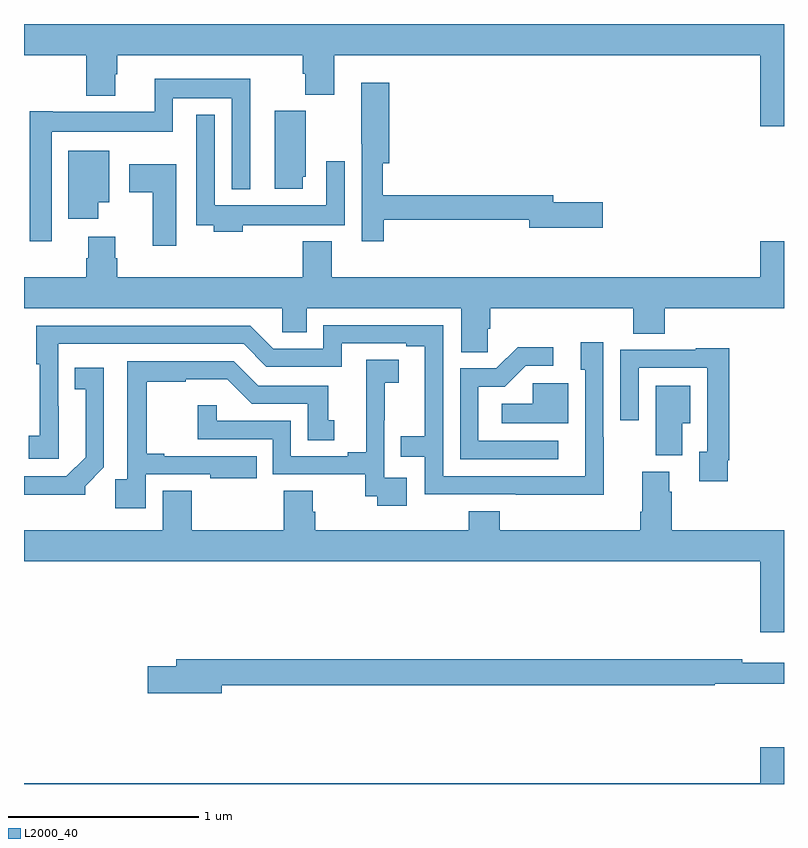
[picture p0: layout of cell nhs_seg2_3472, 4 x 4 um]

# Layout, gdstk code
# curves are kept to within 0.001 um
import gdstk
lib = gdstk.Library(unit=1e-6, precision=1e-09)
def P(c, l, *ps):  # polygons
    for p in ps: c.add(gdstk.Polygon(p, *l))
L2000_40 = (2000, 40)

nhs_seg2_3472 = lib.new_cell('nhs_seg2_3472')
P(nhs_seg2_3472, L2000_40, [(297,647.8),(293,647.8),(293,647.636),(293.327,647.636),(293.327,647.423),(293.479,647.423),(293.479,647.535),(293.492,647.535),(293.492,647.636),(294.467,647.636),(294.467,647.537),(294.479,647.537),(294.479,647.428),(294.632,647.428),(294.632,647.636),(296.876,647.636),(296.876,647.262),(297,647.262)],
  [(293.145,647.234),(293.784,647.234),(293.784,647.408),(294.093,647.408),(294.093,646.931),(294.19,646.931),(294.19,647.512),(293.687,647.512),(293.687,647.338),(293.152,647.338),(293.152,647.341),(293.029,647.341),(293.029,646.656),(293.145,646.656)],
  [(294.893,646.77),(295.658,646.77),(295.658,646.727),(296.047,646.727),(296.047,646.862),(295.786,646.862),(295.786,646.898),(294.889,646.898),(294.889,647.066),(294.923,647.066),(294.923,647.491),(294.776,647.491),(294.776,647.17),(294.777,647.17),(294.777,646.656),(294.893,646.656)],
  [(294.466,646.995),(294.484,646.995),(294.484,647.343),(294.32,647.343),(294.32,646.932),(294.466,646.932)],
  [(294.152,646.74),(294.383,646.74),(294.383,646.742),(294.687,646.742),(294.687,647.077),(294.591,647.077),(294.591,646.846),(294.003,646.846),(294.003,647.323),(293.907,647.323),(293.907,646.74),(293.999,646.74),(293.999,646.706),(294.152,646.706)],
  [(293.392,646.862),(293.449,646.862),(293.449,647.134),(293.234,647.134),(293.234,646.776),(293.392,646.776)],
  [(293.8,647.062),(293.553,647.062),(293.553,646.915),(293.678,646.915),(293.678,646.632),(293.8,646.632)],
  [(293.492,646.566),(293.479,646.566),(293.479,646.681),(293.339,646.681),(293.339,646.566),(293.327,646.566),(293.327,646.468),(293,646.468),(293,646.304),(294.36,646.304),(294.36,646.177),(294.487,646.177),(294.487,646.304),(295.301,646.304),(295.301,646.072),(295.44,646.072),(295.44,646.195),(295.454,646.195),(295.454,646.304),(296.207,646.304),(296.207,646.171),(296.372,646.171),(296.372,646.304),(297,646.304),(297,646.657),(296.876,646.657),(296.876,646.468),(294.619,646.468),(294.619,646.657),(294.467,646.657),(294.467,646.468),(293.492,646.468)],
  [(296.051,645.626),(296.049,645.626),(296.049,646.126),(295.931,646.126),(295.931,645.981),(295.953,645.981),(295.953,645.42),(295.206,645.42),(295.206,646.215),(294.576,646.215),(294.576,646.092),(294.312,646.092),(294.192,646.212),(293.065,646.212),(293.065,646.009),(293.083,646.009),(293.083,645.633),(293.025,645.633),(293.025,645.513),(293.182,645.513),(293.181,646.116),(294.156,646.116),(294.276,645.996),(294.672,645.996),(294.672,646.119),(295.013,646.119),(295.013,646.104),(295.109,646.104),(295.109,645.631),(294.982,645.631),(294.982,645.522),(295.11,645.522),(295.11,645.324),(296.051,645.323)],
  [(295.813,645.606),(295.392,645.606),(295.392,645.891),(295.53,645.891),(295.641,646.002),(295.786,646.002),(295.786,646.1),(295.598,646.1),(295.485,645.987),(295.296,645.987),(295.296,645.51),(295.813,645.51)],
  [(296.704,645.505),(296.711,645.505),(296.711,646.093),(296.535,646.093),(296.535,646.086),(296.139,646.086),(296.139,645.714),(296.235,645.714),(296.235,645.99),(296.595,645.99),(296.595,645.549),(296.555,645.549),(296.555,645.393),(296.704,645.393)],
  [(295.015,645.411),(294.897,645.411),(294.897,645.715),(294.899,645.715),(294.899,645.913),(294.973,645.913),(294.973,646.034),(294.802,646.034),(294.802,645.923),(294.8,645.923),(294.8,645.545),(294.704,645.545),(294.704,645.525),(294.405,645.525),(294.405,645.711),(294.015,645.711),(294.015,645.793),(293.914,645.793),(293.914,645.615),(294.309,645.615),(294.309,645.429),(294.796,645.429),(294.796,645.315),(294.859,645.315),(294.859,645.264),(295.015,645.264)],
  [(293.64,645.429),(293.981,645.429),(293.981,645.41),(294.224,645.41),(294.224,645.525),(293.737,645.525),(293.737,645.538),(293.645,645.538),(293.645,645.918),(293.852,645.918),(293.852,645.929),(294.07,645.929),(294.198,645.801),(294.494,645.801),(294.494,645.61),(294.634,645.61),(294.634,645.714),(294.601,645.714),(294.601,645.897),(294.234,645.897),(294.105,646.026),(293.544,646.026),(293.544,645.403),(293.479,645.403),(293.479,645.252),(293.64,645.252)],
  [(293.322,645.367),(293.421,645.466),(293.421,645.991),(293.266,645.991),(293.266,645.878),(293.324,645.878),(293.324,645.521),(293.223,645.42),(293,645.42),(293,645.323),(293.322,645.323)],
  [(295.864,645.909),(295.677,645.909),(295.677,645.802),(295.515,645.802),(295.515,645.698),(295.864,645.698)],
  [(296.464,645.698),(296.506,645.698),(296.506,645.895),(296.324,645.895),(296.324,645.529),(296.464,645.529)],
  [(294.52,645.234),(294.52,645.344),(294.368,645.344),(294.368,645.136),(293.882,645.136),(293.882,645.344),(293.729,645.344),(293.729,645.136),(293,645.136),(293,644.972),(296.876,644.972),(296.876,644.598),(297,644.598),(297,645.136),(296.408,645.136),(296.408,645.338),(296.395,645.338),(296.395,645.444),(296.255,645.444),(296.255,645.232),(296.243,645.232),(296.243,645.136),(295.505,645.136),(295.505,645.235),(295.34,645.235),(295.34,645.136),(294.533,645.136),(294.533,645.234)],
  [(294.04,644.32),(296.636,644.32),(296.636,644.328),(297,644.328),(297,644.437),(296.78,644.437),(296.78,644.456),(293.801,644.456),(293.801,644.42),(293.652,644.42),(293.652,644.278),(294.04,644.278)],
  [(297,643.993),(296.876,643.993),(296.876,643.804),(293,643.804),(293,643.8),(297,643.8)])

lib.write_gds('nhs_seg2_3472.gds')
